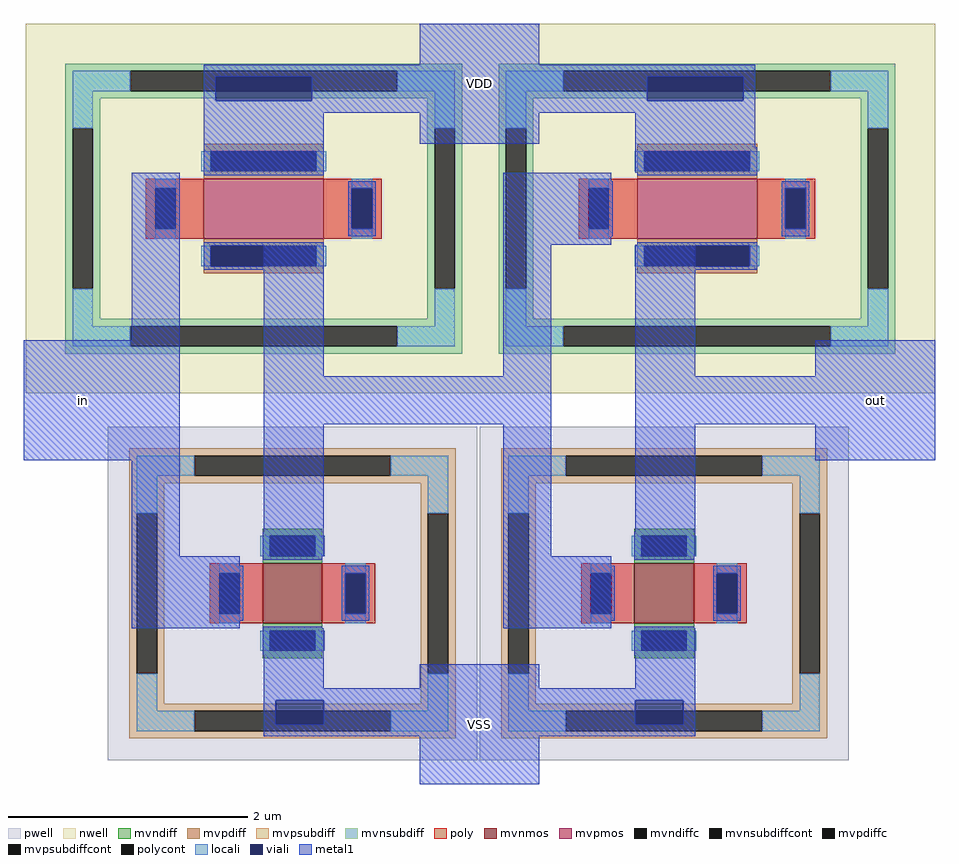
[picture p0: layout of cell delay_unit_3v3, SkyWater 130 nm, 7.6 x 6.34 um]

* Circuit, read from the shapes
.subckt delay_unit_3v3 VDD in out VSS
XM1 n1 in VSS VSS sky130_fd_pr__nfet_g5v0d10v5 w=0.5 l=0.5
XM2 out n1 VSS VSS sky130_fd_pr__nfet_g5v0d10v5 w=0.5 l=0.5
XM3 VDD in n1 VDD sky130_fd_pr__pfet_g5v0d10v5 w=1 l=0.5
XM4 VDD n1 out VDD sky130_fd_pr__pfet_g5v0d10v5 w=1 l=0.5
.ends

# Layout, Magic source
magic
tech sky130A
magscale 1 2
<< viali >>
rect 820 480 980 520
rect 1540 480 1700 520
rect 920 -560 1000 -520
rect 1520 -560 1600 -520
<< metal1 >>
rect 1160 540 1360 608
rect 800 520 1720 540
rect 800 480 820 520
rect 980 480 1540 520
rect 1700 480 1720 520
rect 800 460 1720 480
rect 800 360 1000 460
rect 1160 408 1360 460
rect 1520 360 1720 460
rect 680 80 760 360
rect 1300 240 1480 360
rect 500 -120 760 80
rect 680 -280 760 -120
rect 900 20 1000 240
rect 1300 20 1380 240
rect 900 -60 1380 20
rect 900 -280 1000 -60
rect 1300 -280 1380 -60
rect 1520 20 1620 240
rect 1820 20 2020 80
rect 1520 -60 2020 20
rect 1520 -280 1620 -60
rect 1820 -120 2020 -60
rect 680 -400 860 -280
rect 1300 -400 1480 -280
rect 900 -500 1000 -400
rect 1160 -500 1360 -460
rect 1520 -500 1620 -400
rect 900 -520 1620 -500
rect 900 -560 920 -520
rect 1000 -560 1520 -520
rect 1600 -560 1620 -520
rect 900 -580 1620 -560
rect 1160 -660 1360 -580
use sky130_fd_pr__pfet_g5v0d10v5_KLAZY6  XM1
transform 0 1 900 -1 0 300
box -308 -397 308 397
use sky130_fd_pr__nfet_g5v0d10v5_SMGAG4  XM2
transform 0 1 948 -1 0 -342
box -278 -308 278 308
use sky130_fd_pr__pfet_g5v0d10v5_KLAZY6  XM3
transform 0 1 1623 -1 0 300
box -308 -397 308 397
use sky130_fd_pr__nfet_g5v0d10v5_SMGAG4  XM4
transform 0 1 1568 -1 0 -342
box -278 -308 278 308
<< labels >>
flabel metal1 500 -120 700 80 0 FreeSans 256 0 0 0 in
port 1 nsew
flabel metal1 1820 -120 2020 80 0 FreeSans 256 0 0 0 out
port 2 nsew
flabel metal1 1160 408 1360 608 0 FreeSans 256 0 0 0 VDD
port 0 nsew
flabel metal1 1160 -660 1360 -460 0 FreeSans 256 0 0 0 VSS
port 3 nsew
<< end >>

# cell sky130_fd_pr__pfet_g5v0d10v5_KLAZY6: kit device sky130_fd_pr__pfet_g5v0d10v5, w 1.0 l 0.5 m 1 nf 1 diffcov 100 polycov 100 guard 1 glc 1 grc 1 gtc 1 gbc 1 tbcov 100 rlcov 100 topc 1 botc 1 poverlap 0 doverlap 1 lmin 0.50 wmin 0.42 compatible {sky130_fd_pr__pfet_01v8 sky130_fd_pr__pfet_01v8_lvt sky130_fd_pr__pfet_01v8_hvt sky130_fd_pr__pfet_g5v0d10v5} full_metal 1 viasrc 100 viadrn 100 viagate 100 viagb 0 viagr 0 viagl 0 viagt 0

# cell sky130_fd_pr__nfet_g5v0d10v5_SMGAG4: kit device sky130_fd_pr__nfet_g5v0d10v5, w 0.5 l 0.5 m 1 nf 1 diffcov 100 polycov 100 guard 1 glc 1 grc 1 gtc 1 gbc 1 tbcov 100 rlcov 100 topc 1 botc 1 poverlap 0 doverlap 1 lmin 0.50 wmin 0.42 compatible {sky130_fd_pr__nfet_01v8 sky130_fd_pr__nfet_01v8_lvt sky130_fd_bs_flash__special_sonosfet_star sky130_fd_pr__nfet_g5v0d10v5 sky130_fd_pr__nfet_05v0_nvt sky130_fd_pr__nfet_03v3_nvt} full_metal 1 viasrc 100 viadrn 100 viagate 100 viagb 0 viagr 0 viagl 0 viagt 0
